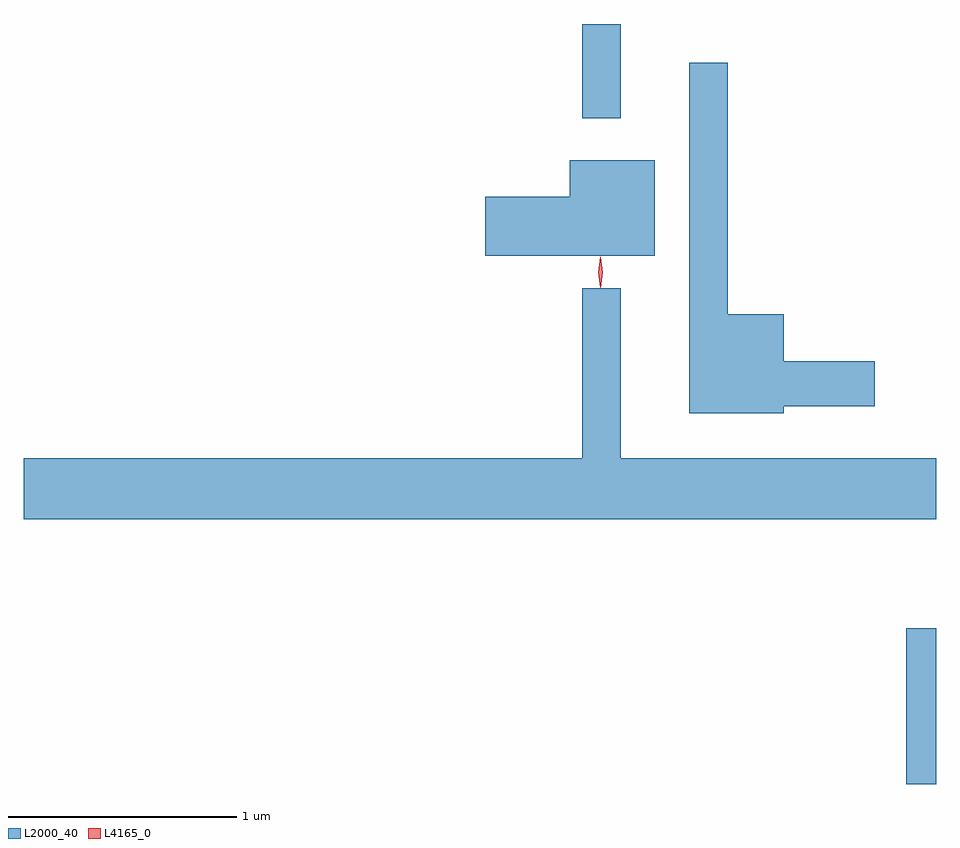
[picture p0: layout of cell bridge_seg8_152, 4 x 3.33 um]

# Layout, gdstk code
import gdstk
lib = gdstk.Library(unit=1e-6, precision=1e-09)
def R(c, l, rs):  # rectangles x0, y0, x1, y1
    for r in rs: c.add(gdstk.rectangle(r[:2], r[2:], *l))
def P(c, l, *ps):  # polygons
    for p in ps: c.add(gdstk.Polygon(p, *l))
L2000_40 = (2000, 40)
L4165_0 = (4165, 0)

bridge_seg8_152 = lib.new_cell('bridge_seg8_152')
R(bridge_seg8_152, L2000_40, [(1266.831,1921.836,1266.963,1922.519), (1265.411,1924.753,1265.579,1925.167)])
P(bridge_seg8_152, L2000_40, [(1266.294,1923.491),(1266.694,1923.491),(1266.694,1923.689),(1266.294,1923.689),(1266.294,1923.894),(1266.049,1923.894),(1266.049,1924.998),(1265.881,1924.998),(1265.881,1923.461),(1266.294,1923.461)],
  [(1265.729,1924.569),(1265.356,1924.569),(1265.356,1924.409),(1264.986,1924.409),(1264.986,1924.151),(1265.729,1924.151)],
  [(1266.963,1923.264),(1265.579,1923.264),(1265.579,1924.008),(1265.411,1924.008),(1265.411,1923.264),(1262.963,1923.264),(1262.963,1922.996),(1266.963,1922.996)])
P(bridge_seg8_152, L4165_0, [(1265.49,1924.013),(1265.481,1924.076),(1265.49,1924.139),(1265.491,1924.14),(1265.492,1924.139),(1265.501,1924.076),(1265.492,1924.013),(1265.491,1924.013)],
  [(1265.492,1924.01),(1265.492,1924.01),(1265.482,1924.078),(1265.491,1924.145),(1265.491,1924.146),(1265.492,1924.145),(1265.502,1924.078),(1265.493,1924.01)])

lib.write_gds('bridge_seg8_152.gds')
